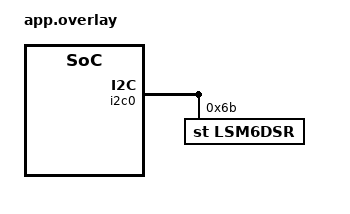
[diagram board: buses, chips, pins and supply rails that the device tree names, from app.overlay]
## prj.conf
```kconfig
CONFIG_STDOUT_CONSOLE=y
CONFIG_I2C=y
CONFIG_SPI=y
CONFIG_SENSOR=y
CONFIG_CBPRINTF_FP_SUPPORT=y
```

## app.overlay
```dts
/*
 * Copyright (c) 2025 Helbling Technik AG
 *
 * SPDX-License-Identifier: Apache-2.0
 */

&i2c0 {
	lsm6dsr: lsm6dsr@6b {
		compatible = "st,lsm6dsr";
		reg = <0x6b>;
	};
};
```

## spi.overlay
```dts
/*
 * Copyright (c) 2025 Helbling Technik AG
 *
 * SPDX-License-Identifier: Apache-2.0
 */

&spi1 {
	cs-gpios = <&gpio1 4 GPIO_ACTIVE_LOW>;
	lsm6dsr: lsm6dsr@0 {
		compatible = "st,lsm6dsr";
		reg = <0>;
		spi-max-frequency = <4000000>;
	};
};
```

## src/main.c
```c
/*
 * Copyright (c) 2025 Helbling Technik AG
 *
 * SPDX-License-Identifier: Apache-2.0
 */

#include <zephyr/kernel.h>
#include <zephyr/device.h>
#include <zephyr/drivers/sensor.h>
#include <stdio.h>
#include <zephyr/sys/util.h>

static int print_samples;
static int lsm6dsr_trig_cnt;

static struct sensor_value accel_x_out, accel_y_out, accel_z_out;
static struct sensor_value gyro_x_out, gyro_y_out, gyro_z_out;

#ifdef CONFIG_LSM6DSR_TRIGGER
static void lsm6dsr_trigger_handler(const struct device *dev,
				    const struct sensor_trigger *trig)
{
	static struct sensor_value accel_x, accel_y, accel_z;
	static struct sensor_value gyro_x, gyro_y, gyro_z;
	lsm6dsr_trig_cnt++;

	sensor_sample_fetch_chan(dev, SENSOR_CHAN_ACCEL_XYZ);
	sensor_channel_get(dev, SENSOR_CHAN_ACCEL_X, &accel_x);
	sensor_channel_get(dev, SENSOR_CHAN_ACCEL_Y, &accel_y);
	sensor_channel_get(dev, SENSOR_CHAN_ACCEL_Z, &accel_z);

	/* lsm6dsr gyro */
	sensor_sample_fetch_chan(dev, SENSOR_CHAN_GYRO_XYZ);
	sensor_channel_get(dev, SENSOR_CHAN_GYRO_X, &gyro_x);
	sensor_channel_get(dev, SENSOR_CHAN_GYRO_Y, &gyro_y);
	sensor_channel_get(dev, SENSOR_CHAN_GYRO_Z, &gyro_z);

	if (print_samples) {
		print_samples = 0;

		accel_x_out = accel_x;
		accel_y_out = accel_y;
		accel_z_out = accel_z;

		gyro_x_out = gyro_x;
		gyro_y_out = gyro_y;
		gyro_z_out = gyro_z;
	}

}
#endif

int main(void)
{
	int cnt = 0;
	char out_str[64];
	struct sensor_value odr_attr;
	const struct device *const lsm6dsr_dev = DEVICE_DT_GET_ONE(st_lsm6dsr);

	if (!device_is_ready(lsm6dsr_dev)) {
		printk("sensor: device not ready.\n");
		return 0;
	}

	/* set accel/gyro sampling frequency to 104 Hz */
	odr_attr.val1 = 104;
	odr_attr.val2 = 0;

	if (sensor_attr_set(lsm6dsr_dev, SENSOR_CHAN_ACCEL_XYZ,
			    SENSOR_ATTR_SAMPLING_FREQUENCY, &odr_attr) < 0) {
		printk("Cannot set sampling frequency for accelerometer.\n");
		return 0;
	}

	if (sensor_attr_set(lsm6dsr_dev, SENSOR_CHAN_GYRO_XYZ,
			    SENSOR_ATTR_SAMPLING_FREQUENCY, &odr_attr) < 0) {
		printk("Cannot set sampling frequency for gyro.\n");
		return 0;
	}

#ifdef CONFIG_LSM6DSR_TRIGGER
	struct sensor_trigger trig;

	trig.type = SENSOR_TRIG_DATA_READY;
	trig.chan = SENSOR_CHAN_ACCEL_XYZ;

	if (sensor_trigger_set(lsm6dsr_dev, &trig, lsm6dsr_trigger_handler) != 0) {
		printk("Could not set sensor type and channel\n");
		return 0;
	}
#endif

	if (sensor_sample_fetch(lsm6dsr_dev) < 0) {
		printk("Sensor sample update error\n");
		return 0;
	}

	while (1) {
		/* Erase previous */
		printk("\0033\014");
		printf("LSM6DSR sensor samples:\n\n");

		/* lsm6dsr accel */
		sprintf(out_str, "accel x:%f ms/2 y:%f ms/2 z:%f ms/2",
							  sensor_value_to_double(&accel_x_out),
							  sensor_value_to_double(&accel_y_out),
							  sensor_value_to_double(&accel_z_out));
		printk("%s\n", out_str);

		/* lsm6dsr gyro */
		sprintf(out_str, "gyro x:%f dps y:%f dps z:%f dps",
							   sensor_value_to_double(&gyro_x_out),
							   sensor_value_to_double(&gyro_y_out),
							   sensor_value_to_double(&gyro_z_out));
		printk("%s\n", out_str);

		printk("loop:%d trig_cnt:%d\n\n", ++cnt, lsm6dsr_trig_cnt);

		print_samples = 1;
		k_sleep(K_MSEC(1000));
	}
}
```
